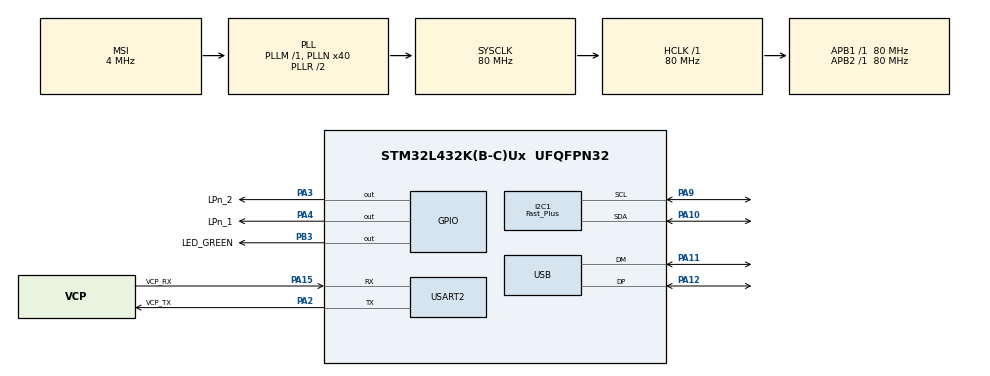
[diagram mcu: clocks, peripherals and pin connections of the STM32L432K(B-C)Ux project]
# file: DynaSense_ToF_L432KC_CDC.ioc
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I2C1.I2C_Speed_Mode=I2C_Fast_Plus
I2C1.Timing=0x00B10E24
Mcu.Family=STM32L4
Mcu.Name=STM32L432K(B-C)Ux
Mcu.Package=UFQFPN32
NVIC.PriorityGroup=NVIC_PRIORITYGROUP_4
NVIC.USB_IRQn=true\:0\:0\:false\:false\:true\:false\:true\:true
PA0.GPIO_Label=MCO [High speed clock in]
PA0.Mode=HSE-External-Clock-Source-for-LittleOrca
PA0.Signal=RCC_CK_IN
PA10.Mode=I2C
PA10.Signal=I2C1_SDA
PA11.Mode=Device
PA11.Signal=USB_DM
PA12.Mode=Device
PA12.Signal=USB_DP
PA13\ (JTMS-SWDIO).GPIO_Label=SWDIO
PA13\ (JTMS-SWDIO).Mode=Serial_Wire
PA13\ (JTMS-SWDIO).Signal=SYS_JTMS-SWDIO
PA14\ (JTCK-SWCLK).GPIO_Label=SWCLK
PA14\ (JTCK-SWCLK).Mode=Serial_Wire
PA14\ (JTCK-SWCLK).Signal=SYS_JTCK-SWCLK
PA15\ (JTDI).GPIO_Label=VCP_RX
PA15\ (JTDI).Mode=Asynchronous
PA15\ (JTDI).Signal=USART2_RX
PA2.GPIO_Label=VCP_TX
PA2.Mode=Asynchronous
PA2.Signal=USART2_TX
PA3.GPIO_Label=LPn_2
PA3.Signal=GPIO_Output
PA4.GPIO_Label=LPn_1
PA4.Signal=GPIO_Output
PA9.Mode=I2C
PA9.Signal=I2C1_SCL
PB3\ (JTDO-TRACESWO).GPIO_Label=LED_GREEN
PB3\ (JTDO-TRACESWO).Signal=GPIO_Output
PC14-OSC32_IN\ (PC14).Mode=LSE-External-Oscillator
PC14-OSC32_IN\ (PC14).Signal=RCC_OSC32_IN
PC15-OSC32_OUT\ (PC15).Mode=LSE-External-Oscillator
PC15-OSC32_OUT\ (PC15).Signal=RCC_OSC32_OUT
ProjectManager.HeapSize=0x200
ProjectManager.StackSize=0x400
ProjectManager.TargetToolchain=CMake
RCC.ADCFreq_Value=48000000
RCC.AHBFreq_Value=80000000
RCC.APB1Freq_Value=80000000
RCC.APB1TimFreq_Value=80000000
RCC.APB2Freq_Value=80000000
RCC.APB2TimFreq_Value=80000000
RCC.CortexFreq_Value=80000000
RCC.HCLKFreq_Value=80000000
RCC.HSE_VALUE=8000000
RCC.HSI16_VALUE=16000000
RCC.HSI48_VALUE=48000000
RCC.HSI_VALUE=16000000
RCC.MSI_VALUE=4000000
RCC.PLLMUL=RCC_PLLMUL_4
RCC.PLLN=40
RCC.PLLSAI1N=24
RCC.SYSCLKFreq_VALUE=80000000
RCC.SYSCLKSource=RCC_SYSCLKSOURCE_PLLCLK
RCC.USBFreq_Value=48000000
RCC.VCOOutputFreq_Value=160000000
USART2.VirtualMode-Asynchronous=VM_ASYNC
USB_DEVICE.CLASS_NAME_FS=CDC
USB_DEVICE.VirtualMode=Cdc
USB_DEVICE.VirtualModeFS=Cdc_FS
VP_USB_DEVICE_VS_USB_DEVICE_CDC_FS.Mode=CDC_FS
board=NUCLEO-L432KC

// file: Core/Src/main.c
/* USER CODE BEGIN Header */
/**
  ******************************************************************************
  * @file           : main.c
  * @brief          : Main program body
  ******************************************************************************
  * @attention
  *
  * Copyright (c) 2025 STMicroelectronics.
  * All rights reserved.
  *
  * This software is licensed under terms that can be found in the LICENSE file
  * in the root directory of this software component.
  * If no LICENSE file comes with this software, it is provided AS-IS.
  *
  ******************************************************************************
  */
/* USER CODE END Header */
#include "main.h"
#include "i2c.h"
#include "usart.h"
#include "usb_device.h"
#include "gpio.h"

/* USER CODE BEGIN Includes */
// #include "usbd_cdc_if.h"

#include <stdbool.h>
#include <string.h>
#include <stdio.h>

#include "vl53l5cx_api.h"

// Include headers according to MODE set in CMakeLists.txt
#ifdef RANGING_SINGLE
#include "vl53l5cx_ranging.h"
#endif
#ifdef RANGING_DOUBLE
#include "vl53l5cx_ranging_twosensors.h"
#endif
#ifdef HID_LATENCY_TEST
#include "hid_latency_test.h"
#endif

/* USER CODE END Includes */

void SystemClock_Config(void);

int main(void)
{

  /* MCU Configuration--------------------------------------------------------*/

  /* Reset of all peripherals, Initializes the Flash interface and the Systick. */
  HAL_Init();

  /* Configure the system clock */
  SystemClock_Config();

  /* Initialize all configured peripherals */
  MX_GPIO_Init();
  MX_I2C1_Init();
  MX_USART2_UART_Init();
  MX_USB_DEVICE_Init();
  /* USER CODE BEGIN 2 */

  [[maybe_unused]] int status = initialize();

  /* USER CODE END 2 */

  /* Infinite loop */
  while (1)
  {

    /* USER CODE BEGIN 3 */
    run();
  }
  /* USER CODE END 3 */
}

void SystemClock_Config(void)
{
  RCC_OscInitTypeDef RCC_OscInitStruct = {0};
  RCC_ClkInitTypeDef RCC_ClkInitStruct = {0};

  /** Configure the main internal regulator output voltage
  */
  if (HAL_PWREx_ControlVoltageScaling(PWR_REGULATOR_VOLTAGE_SCALE1) != HAL_OK)
  {
    Error_Handler();
  }

  /** Configure LSE Drive Capability
  */
  HAL_PWR_EnableBkUpAccess();
  __HAL_RCC_LSEDRIVE_CONFIG(RCC_LSEDRIVE_LOW);

  /** Initializes the RCC Oscillators according to the specified parameters
  * in the RCC_OscInitTypeDef structure.
  */
  RCC_OscInitStruct.OscillatorType = RCC_OSCILLATORTYPE_LSE|RCC_OSCILLATORTYPE_MSI;
  RCC_OscInitStruct.LSEState = RCC_LSE_ON;
  RCC_OscInitStruct.MSIState = RCC_MSI_ON;
  RCC_OscInitStruct.MSICalibrationValue = 0;
  RCC_OscInitStruct.MSIClockRange = RCC_MSIRANGE_6;
  RCC_OscInitStruct.PLL.PLLState = RCC_PLL_ON;
  RCC_OscInitStruct.PLL.PLLSource = RCC_PLLSOURCE_MSI;
  RCC_OscInitStruct.PLL.PLLM = 1;
  RCC_OscInitStruct.PLL.PLLN = 40;
  RCC_OscInitStruct.PLL.PLLP = RCC_PLLP_DIV7;
  RCC_OscInitStruct.PLL.PLLQ = RCC_PLLQ_DIV2;
  RCC_OscInitStruct.PLL.PLLR = RCC_PLLR_DIV2;
  if (HAL_RCC_OscConfig(&RCC_OscInitStruct) != HAL_OK)
  {
    Error_Handler();
  }

  /** Initializes the CPU, AHB and APB buses clocks
  */
  RCC_ClkInitStruct.ClockType = RCC_CLOCKTYPE_HCLK|RCC_CLOCKTYPE_SYSCLK
                              |RCC_CLOCKTYPE_PCLK1|RCC_CLOCKTYPE_PCLK2;
  RCC_ClkInitStruct.SYSCLKSource = RCC_SYSCLKSOURCE_PLLCLK;
  RCC_ClkInitStruct.AHBCLKDivider = RCC_SYSCLK_DIV1;
  RCC_ClkInitStruct.APB1CLKDivider = RCC_HCLK_DIV1;
  RCC_ClkInitStruct.APB2CLKDivider = RCC_HCLK_DIV1;

  if (HAL_RCC_ClockConfig(&RCC_ClkInitStruct, FLASH_LATENCY_4) != HAL_OK)
  {
    Error_Handler();
  }

  /** Enable MSI Auto calibration
  */
  HAL_RCCEx_EnableMSIPLLMode();
}

void Error_Handler(void)
{
  __disable_irq();
  while (1)
  {
  }
}
